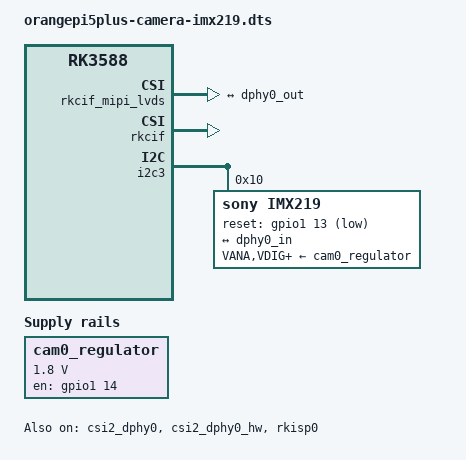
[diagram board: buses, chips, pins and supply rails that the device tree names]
/*
 * Device Tree Overlay: IMX219 (RPi Camera v2) on Orange Pi 5 Plus CAM0
 *
 * Sony IMX219 8MP camera module connected to the 4-lane MIPI CSI-2
 * connector via csi2_dphy0.
 *
 * The Orange Pi 5 Plus has one 4-lane MIPI CSI-2 camera connector
 * (vs two on the Rock 5T).
 *
 * IMPORTANT: Adjust GPIO pins and I2C bus for your specific board
 * revision. The pins below are based on the Orange Pi 5 Plus schematic.
 *
 * To compile:
 *   dtc -@ -I dts -O dtb -o orangepi5plus-camera-imx219.dtbo orangepi5plus-camera-imx219.dts
 */

/dts-v1/;
/plugin/;

/ {
	compatible = "xunlong,orangepi-5-plus", "rockchip,rk3588";

	fragment@0 {
		target-path = "/";
		__overlay__ {
			cam0_regulator: cam0-regulator {
				compatible = "regulator-fixed";
				regulator-name = "cam0_supply";
				regulator-min-microvolt = <1800000>;
				regulator-max-microvolt = <1800000>;
				/* Adjust GPIO for OPi5+ camera power enable */
				gpio = <&gpio1 14 0>; /* Placeholder — verify with schematic */
				enable-active-high;
				regulator-always-on;
			};
		};
	};

	/* Enable MIPI D-PHY for CAM0 */
	fragment@1 {
		target = <&csi2_dphy0>;
		__overlay__ {
			status = "okay";

			ports {
				#address-cells = <1>;
				#size-cells = <0>;

				/* Input from sensor */
				port@0 {
					reg = <0>;
					dphy0_in: endpoint {
						remote-endpoint = <&imx219_out>;
						data-lanes = <1 2>;
						/* For 4-lane, use: data-lanes = <1 2 3 4>; */
					};
				};

				/* Output to CIF */
				port@1 {
					reg = <1>;
					dphy0_out: endpoint {
						remote-endpoint = <&cif_mipi0_in>;
					};
				};
			};
		};
	};

	/* Enable D-PHY hardware block */
	fragment@2 {
		target = <&csi2_dphy0_hw>;
		__overlay__ {
			status = "okay";
		};
	};

	/* Enable CIF MIPI receiver */
	fragment@3 {
		target = <&rkcif_mipi_lvds>;
		__overlay__ {
			status = "okay";

			port {
				cif_mipi0_in: endpoint {
					remote-endpoint = <&dphy0_out>;
				};
			};
		};
	};

	/* Enable CIF controller */
	fragment@4 {
		target = <&rkcif>;
		__overlay__ {
			status = "okay";
		};
	};

	/* Enable ISP0 for image processing */
	fragment@5 {
		target = <&rkisp0>;
		__overlay__ {
			status = "okay";
		};
	};

	/* IMX219 sensor on I2C (adjust bus for your board) */
	fragment@6 {
		target = <&i2c3>;
		__overlay__ {
			status = "okay";
			#address-cells = <1>;
			#size-cells = <0>;

			imx219: imx219@10 {
				compatible = "sony,imx219";
				reg = <0x10>;
				clocks = <&cam0_clk>;
				clock-names = "xclk";

				/* Adjust reset GPIO for OPi5+ */
				reset-gpios = <&gpio1 13 1>; /* Placeholder — verify with schematic */
				VANA-supply = <&cam0_regulator>;
				VDIG-supply = <&cam0_regulator>;
				VDDL-supply = <&cam0_regulator>;

				port {
					imx219_out: endpoint {
						remote-endpoint = <&dphy0_in>;
						data-lanes = <1 2>;
						clock-lanes = <0>;
						clock-noncontinuous;
						link-frequencies = /bits/ 64 <456000000>;
					};
				};
			};
		};
	};

	/* 24 MHz reference clock for the sensor */
	fragment@7 {
		target-path = "/";
		__overlay__ {
			cam0_clk: cam0-clk {
				compatible = "fixed-clock";
				#clock-cells = <0>;
				clock-frequency = <24000000>;
				clock-output-names = "cam0_xclk";
			};
		};
	};
};
